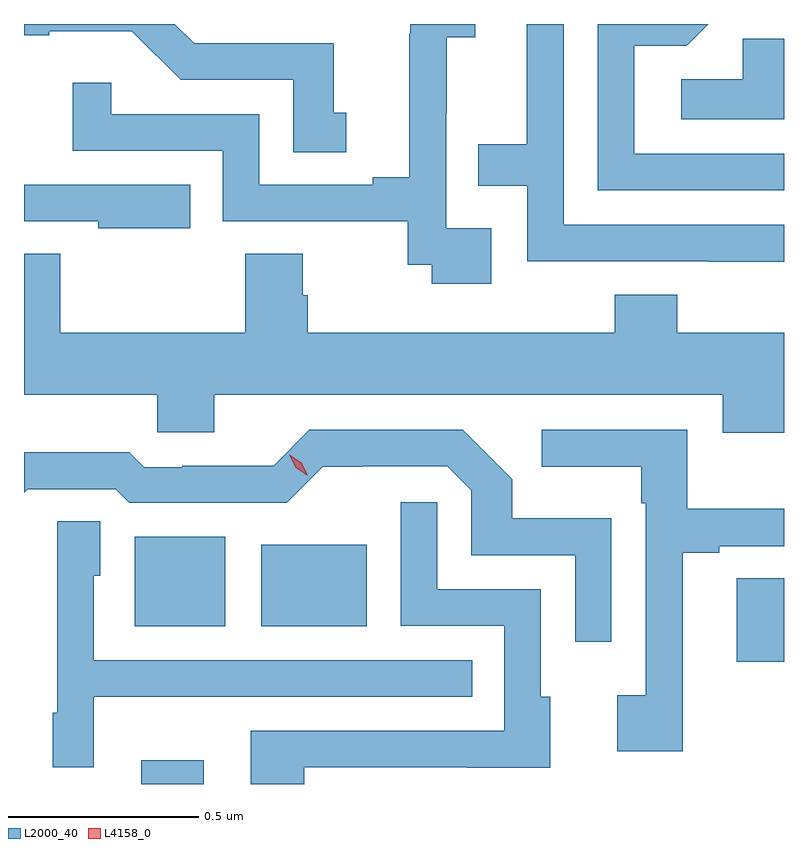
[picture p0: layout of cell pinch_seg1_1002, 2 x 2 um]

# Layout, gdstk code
import gdstk
lib = gdstk.Library(unit=1e-6, precision=1e-09)
def R(c, l, rs):  # rectangles x0, y0, x1, y1
    for r in rs: c.add(gdstk.rectangle(r[:2], r[2:], *l))
def P(c, l, *ps):  # polygons
    for p in ps: c.add(gdstk.Polygon(p, *l))
L2000_40 = (2000, 40)
L4158_0 = (4158, 0)

pinch_seg1_1002 = lib.new_cell('pinch_seg1_1002')
R(pinch_seg1_1002, L2000_40, [(346.043,540.052,346.207,540.115), (347.609,540.374,347.734,540.593), (346.025,540.467,346.264,540.703), (346.358,540.467,346.636,540.682)])
P(pinch_seg1_1002, L2000_40, [(347.734,541.71),(347.34,541.71),(347.34,541.995),(347.478,541.995),(347.535,542.052),(347.244,542.052),(347.244,541.614),(347.734,541.614)],
  [(347.734,541.524),(347.154,541.524),(347.154,542.052),(347.057,542.052),(347.057,541.735),(346.93,541.735),(346.93,541.626),(347.058,541.626),(347.058,541.428),(347.536,541.428),(347.536,541.427),(347.734,541.427)],
  [(346.963,541.515),(346.845,541.515),(346.845,541.819),(346.847,541.819),(346.847,542.017),(346.921,542.017),(346.921,542.052),(346.75,542.052),(346.75,542.027),(346.748,542.027),(346.748,541.649),(346.652,541.649),(346.652,541.629),(346.353,541.629),(346.353,541.815),(345.963,541.815),(345.963,541.897),(345.862,541.897),(345.862,541.719),(346.257,541.719),(346.257,541.533),(346.744,541.533),(346.744,541.419),(346.807,541.419),(346.807,541.368),(346.963,541.368)],
  [(346.582,541.818),(346.549,541.818),(346.549,542.001),(346.182,542.001),(346.131,542.052),(345.734,542.052),(345.734,542.022),(345.8,542.022),(345.8,542.033),(346.018,542.033),(346.146,541.905),(346.442,541.905),(346.442,541.714),(346.582,541.714)],
  [(347.734,542.013),(347.625,542.013),(347.625,541.906),(347.463,541.906),(347.463,541.802),(347.734,541.802)],
  [(346.172,541.629),(345.734,541.629),(345.734,541.533),(345.929,541.533),(345.929,541.514),(346.172,541.514)],
  [(347.734,541.24),(347.453,541.24),(347.453,541.339),(347.288,541.339),(347.288,541.24),(346.481,541.24),(346.481,541.338),(346.468,541.338),(346.468,541.448),(346.316,541.448),(346.316,541.24),(345.83,541.24),(345.83,541.448),(345.734,541.448),(345.734,541.076),(346.084,541.076),(346.084,540.978),(346.234,540.978),(346.234,541.076),(347.573,541.076),(347.573,540.977),(347.734,540.977)],
  [(347.467,540.66),(347.563,540.66),(347.563,540.678),(347.734,540.678),(347.734,540.776),(347.479,540.776),(347.479,540.984),(347.097,540.984),(347.097,540.887),(347.358,540.887),(347.358,540.791),(347.37,540.791),(347.37,540.286),(347.295,540.286),(347.295,540.138),(347.467,540.138)],
  [(347.28,540.751),(347.019,540.751),(347.019,540.854),(346.888,540.984),(346.485,540.984),(346.391,540.89),(346.15,540.89),(346.15,540.885),(346.05,540.885),(346.011,540.925),(345.734,540.925),(345.734,540.818),(345.744,540.828),(345.975,540.828),(346.011,540.792),(346.425,540.792),(346.52,540.887),(346.624,540.887),(346.624,540.888),(346.848,540.888),(346.911,540.825),(346.911,540.654),(347.184,540.654),(347.184,540.426),(347.28,540.426)],
  [(346.471,540.096),(346.901,540.096),(346.901,540.095),(347.119,540.095),(347.119,540.282),(347.094,540.282),(347.094,540.564),(346.821,540.564),(346.821,540.793),(346.725,540.793),(346.725,540.468),(346.998,540.468),(346.998,540.192),(346.331,540.192),(346.331,540.052),(346.471,540.052)],
  [(345.918,540.281),(346.235,540.281),(346.235,540.282),(346.913,540.282),(346.913,540.378),(345.918,540.378),(345.918,540.6),(345.934,540.6),(345.934,540.743),(345.822,540.743),(345.822,540.24),(345.809,540.24),(345.809,540.096),(345.918,540.096)])
P(pinch_seg1_1002, L4158_0, [(346.48,540.864),(346.449,540.884),(346.432,540.918),(346.432,540.918),(346.433,540.918),(346.464,540.897),(346.481,540.864),(346.481,540.864)])

lib.write_gds('pinch_seg1_1002.gds')
